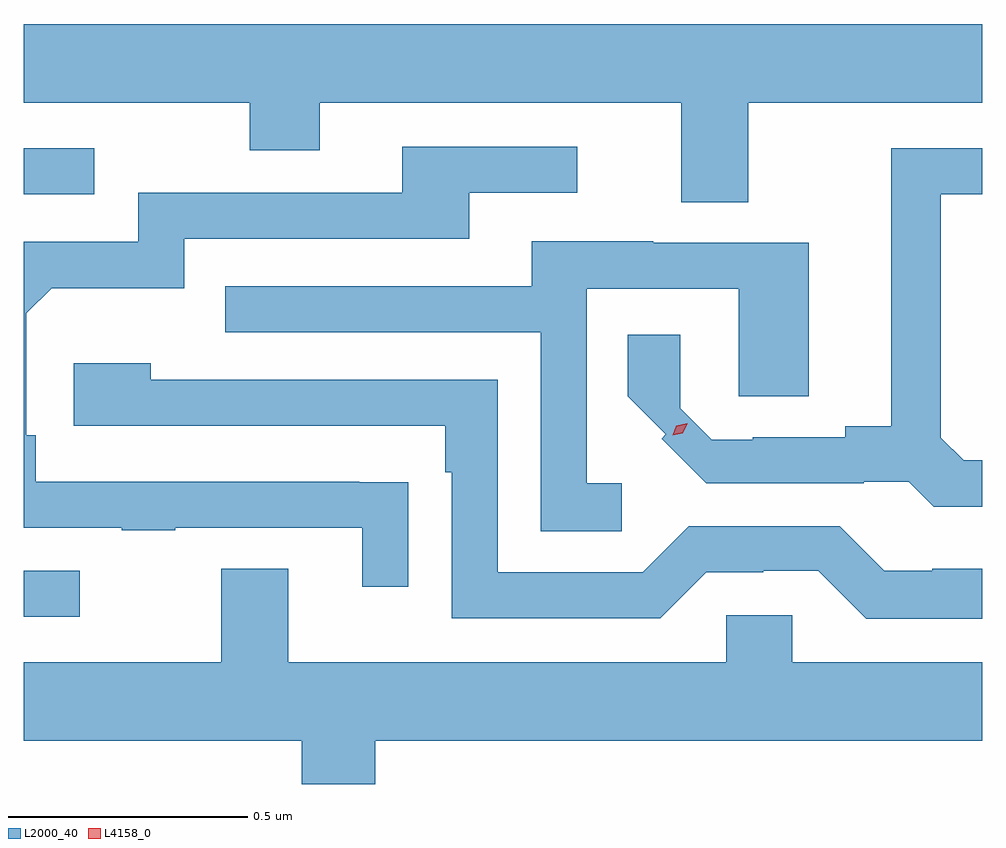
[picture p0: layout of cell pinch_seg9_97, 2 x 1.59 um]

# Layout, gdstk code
import gdstk
lib = gdstk.Library(unit=1e-6, precision=1e-09)
def R(c, l, rs):  # rectangles x0, y0, x1, y1
    for r in rs: c.add(gdstk.rectangle(r[:2], r[2:], *l))
def P(c, l, *ps):  # polygons
    for p in ps: c.add(gdstk.Polygon(p, *l))
L2000_40 = (2000, 40)
L4158_0 = (4158, 0)

pinch_seg9_97 = lib.new_cell('pinch_seg9_97')
R(pinch_seg9_97, L2000_40, [(1144.789,1191.351,1144.906,1191.447), (1144.789,1192.233,1144.936,1192.329)])
P(pinch_seg9_97, L2000_40, [(1146.301,1192.424),(1146.789,1192.424),(1146.789,1192.588),(1144.789,1192.588),(1144.789,1192.424),(1145.26,1192.424),(1145.26,1192.325),(1145.407,1192.325),(1145.407,1192.424),(1146.161,1192.424),(1146.161,1192.216),(1146.301,1192.216)],
  [(1145.591,1191.632),(1145.489,1191.632),(1145.489,1191.633),(1144.814,1191.633),(1144.814,1191.73),(1144.794,1191.73),(1144.794,1191.984),(1144.847,1192.037),(1145.124,1192.037),(1145.124,1192.14),(1145.719,1192.14),(1145.719,1192.236),(1145.944,1192.236),(1145.944,1192.332),(1145.579,1192.332),(1145.579,1192.236),(1145.028,1192.236),(1145.028,1192.134),(1144.789,1192.134),(1144.789,1191.537),(1144.993,1191.537),(1144.993,1191.532),(1145.105,1191.532),(1145.105,1191.537),(1145.495,1191.537),(1145.495,1191.414),(1145.591,1191.414)],
  [(1146.789,1191.678),(1146.75,1191.678),(1146.703,1191.725),(1146.703,1192.233),(1146.789,1192.233),(1146.789,1192.329),(1146.599,1192.329),(1146.599,1191.749),(1146.503,1191.749),(1146.503,1191.726),(1146.31,1191.726),(1146.31,1191.72),(1146.225,1191.72),(1146.159,1191.786),(1146.159,1191.94),(1146.049,1191.94),(1146.049,1191.811),(1146.129,1191.732),(1146.12,1191.723),(1146.213,1191.63),(1146.542,1191.63),(1146.542,1191.633),(1146.636,1191.633),(1146.688,1191.581),(1146.789,1191.581)],
  [(1146.037,1191.63),(1145.964,1191.63),(1145.964,1192.035),(1146.281,1192.035),(1146.281,1191.811),(1146.427,1191.811),(1146.427,1192.131),(1146.103,1192.131),(1146.103,1192.135),(1145.849,1192.135),(1145.849,1192.041),(1145.209,1192.041),(1145.209,1191.945),(1145.868,1191.945),(1145.868,1191.529),(1146.037,1191.529)],
  [(1146.789,1191.451),(1146.685,1191.451),(1146.685,1191.447),(1146.585,1191.447),(1146.492,1191.54),(1146.177,1191.54),(1146.081,1191.444),(1145.778,1191.444),(1145.778,1191.846),(1145.054,1191.846),(1145.054,1191.88),(1144.893,1191.88),(1144.893,1191.75),(1145.669,1191.75),(1145.669,1191.653),(1145.682,1191.653),(1145.682,1191.348),(1146.117,1191.348),(1146.213,1191.444),(1146.332,1191.444),(1146.332,1191.447),(1146.447,1191.447),(1146.547,1191.347),(1146.789,1191.347)],
  [(1145.522,1191.092),(1146.789,1191.092),(1146.789,1191.256),(1146.393,1191.256),(1146.393,1191.354),(1146.255,1191.354),(1146.255,1191.256),(1145.341,1191.256),(1145.341,1191.451),(1145.201,1191.451),(1145.201,1191.256),(1144.789,1191.256),(1144.789,1191.092),(1145.369,1191.092),(1145.369,1191.002),(1145.522,1191.002)])
P(pinch_seg9_97, L4158_0, [(1146.143,1191.73),(1146.143,1191.73),(1146.151,1191.75),(1146.173,1191.755),(1146.173,1191.755),(1146.173,1191.754),(1146.164,1191.734),(1146.143,1191.73)])

lib.write_gds('pinch_seg9_97.gds')
